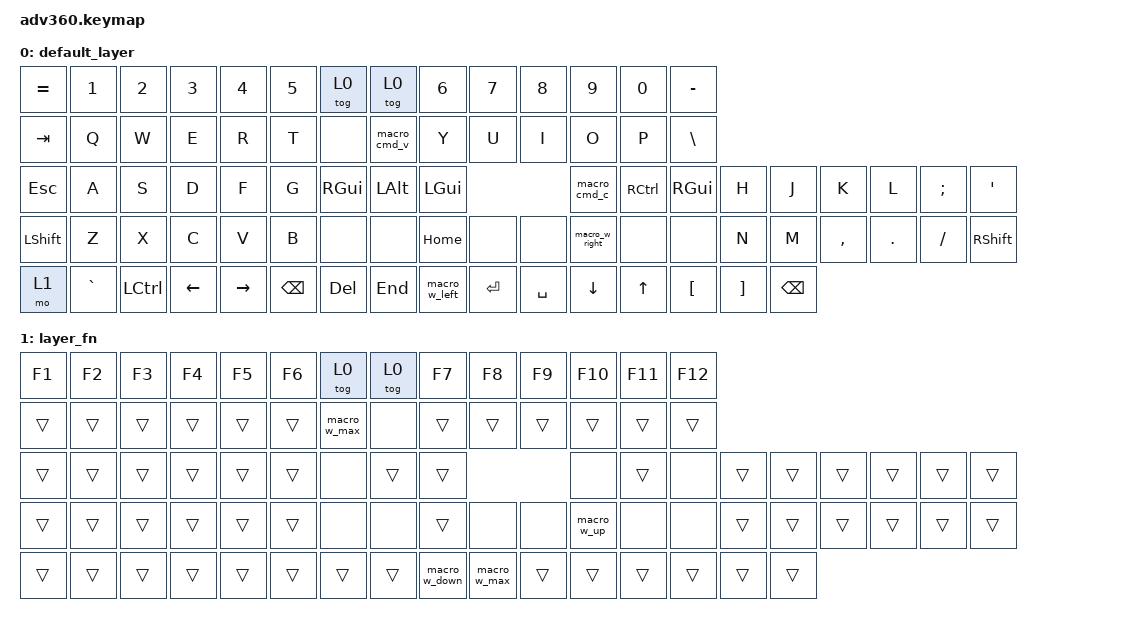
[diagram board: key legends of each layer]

/*
 * Copyright (c) 2020 The ZMK Contributors
 *
 * SPDX-License-Identifier: MIT
 */


/* THIS FILE WAS GENERATED!
 *
 * This file was generated automatically. You may or may not want to
 * edit it directly.
 */

#include <behaviors.dtsi>
#include <dt-bindings/zmk/keys.h>

/ {
  behaviors {
    #include "macros.dtsi"

    hm: homerow_mods {
        compatible = "zmk,behavior-hold-tap";
        label = "HOMEROW_MODS";
        #binding-cells = <2>;
        tapping-term-ms = <200>;
        quick_tap_ms = <175>;
        flavor = "tap-preferred";
        bindings = <&kp>, <&kp>;
    };
  };

    keymap {
        compatible = "zmk,keymap";


        default_layer {
            bindings = <
 &kp EQUAL     &kp N1     &kp N2    &kp N3     &kp N4    &kp N5                   &tog 0        &tog 0         &kp N6     &kp N7     &kp N8          &kp N9     &kp N0      &kp MINUS
   &kp TAB      &kp Q      &kp W     &kp E      &kp R     &kp T                    &none  &macro_cmd_v          &kp Y      &kp U      &kp I           &kp O      &kp P       &kp BSLH
   &kp ESC      &kp A      &kp S     &kp D      &kp F     &kp G            &kp RIGHT_GUI      &kp LALT   &kp LEFT_GUI                          &macro_cmd_c  &kp RCTRL  &kp RIGHT_GUI     &kp H          &kp J      &kp K    &kp L  &kp SEMI    &kp SQT
 &kp LSHFT      &kp Z      &kp X     &kp C      &kp V     &kp B                    &none         &none       &kp HOME      &none      &none  &macro_w_right      &none          &none     &kp N          &kp M  &kp COMMA  &kp DOT  &kp FSLH  &kp RSHFT
     &mo 1  &kp GRAVE  &kp LCTRL  &kp LEFT  &kp RIGHT  &kp BSPC                  &kp DEL       &kp END  &macro_w_left  &kp ENTER  &kp SPACE        &kp DOWN     &kp UP       &kp LBKT  &kp RBKT  &kp BACKSPACE
            >;
        };

        layer_fn {
            bindings = <
 &kp F1  &kp F2  &kp F3  &kp F4  &kp F5  &kp F6                  &tog 0  &tog 0         &kp F7        &kp F8  &kp F9      &kp F10  &kp F11  &kp F12
 &trans  &trans  &trans  &trans  &trans  &trans            &macro_w_max   &none         &trans        &trans  &trans       &trans   &trans   &trans
 &trans  &trans  &trans  &trans  &trans  &trans                   &none  &trans         &trans                              &none   &trans    &none  &trans  &trans  &trans  &trans  &trans  &trans
 &trans  &trans  &trans  &trans  &trans  &trans                   &none   &none         &trans         &none   &none  &macro_w_up    &none    &none  &trans  &trans  &trans  &trans  &trans  &trans
 &trans  &trans  &trans  &trans  &trans  &trans                  &trans  &trans  &macro_w_down  &macro_w_max  &trans       &trans   &trans   &trans  &trans  &trans
            >;
        };

    };
};
